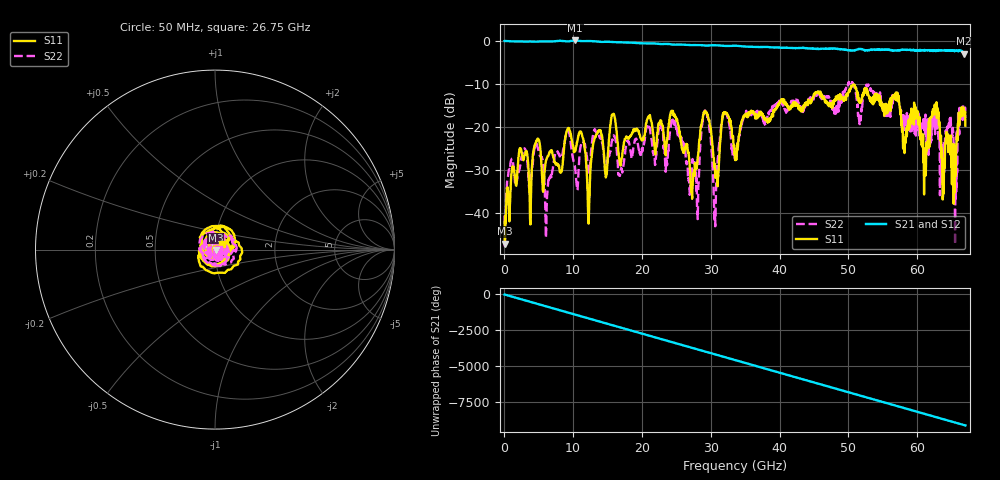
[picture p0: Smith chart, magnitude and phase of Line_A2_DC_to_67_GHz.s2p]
#  HZ  S  MA  R  50.00
! Rohde & Schwarz ZVA67 4Ports - Version 4.11 - 1305.7002k04 SN: 101051
! Date: 2023-05-31 11:52:33
! Measurements: S11 S21 S12 S22
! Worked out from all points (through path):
!   1340 points, 50 MHz to 67 GHz, reference 50 ohm
!   highest |S21| = 0.08 dB at 10.3 GHz (marker M1); lowest = -3.0 dB at 66.8 GHz (marker M2)
!   group delay of S21, straight-line fit = 379 ps
!   lowest |S11| = -47.2 dB at 100 MHz (marker M3), VSWR 1.01, Z = 50.4 - j0.238 ohm
!   |S11| at or under -10 dB: start of sweep to end of sweep
!   |S22| runs from -47.8 to -9.6 dB; largest |S21 - S12| = 0.13
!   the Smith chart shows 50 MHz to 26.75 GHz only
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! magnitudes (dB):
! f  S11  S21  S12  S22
! 50 MHz  -42.2  0.0  0.0  -40.7
! 100 MHz  -47.2  0.0  0.0  -47.8
! 2.9 GHz  -26.8  -0.2  -0.2  -25.2
! 6.15 GHz  -27.5  -0.2  -0.1  -39.4
! 10.3 GHz  -25.6  0.1  0.1  -29.7
! 11.25 GHz  -21.7  -0.1  0.0  -23.5
! 12.25 GHz  -42.6  -0.1  0.0  -30.5
! 15.8 GHz  -17.1  -0.3  -0.3  -22.8
! 16.85 GHz  -28.8  -0.3  -0.3  -30.9
! 22.4 GHz  -19.4  -0.7  -0.7  -21.0
! 27.35 GHz  -34.1  -1.0  -1.0  -27.5
! 29.15 GHz  -16.4  -1.1  -1.1  -16.6
! 30.55 GHz  -29.1  -1.0  -1.0  -42.1
! 31.9 GHz  -16.8  -1.2  -1.2  -16.9
! 33.55 GHz  -27.8  -1.2  -1.2  -26.8
! 44.7 GHz  -13.8  -1.8  -1.8  -13.7
! 55.85 GHz  -15.7  -2.1  -2.0  -16.8
! 61.2 GHz  -26.3  -2.2  -2.2  -17.2
! 62.8 GHz  -14.3  -2.2  -2.3  -20.1
! 63.8 GHz  -30.9  -2.3  -2.3  -28.1
! 66.8 GHz  -17.1  -3.0  -3.0  -18.0
! 67 GHz  -19.8  -2.8  -2.8  -18.0
